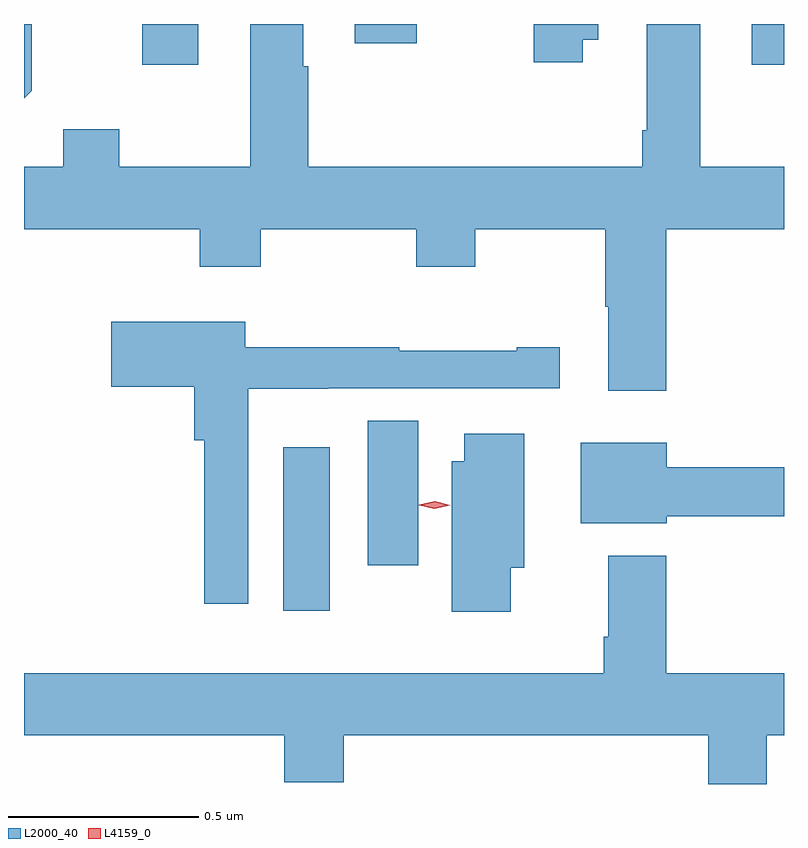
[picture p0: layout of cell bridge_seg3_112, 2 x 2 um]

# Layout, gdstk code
import gdstk
lib = gdstk.Library(unit=1e-6, precision=1e-09)
def R(c, l, rs):  # rectangles x0, y0, x1, y1
    for r in rs: c.add(gdstk.rectangle(r[:2], r[2:], *l))
def P(c, l, *ps):  # polygons
    for p in ps: c.add(gdstk.Polygon(p, *l))
L2000_40 = (2000, 40)
L4159_0 = (4159, 0)

bridge_seg3_112 = lib.new_cell('bridge_seg3_112')
R(bridge_seg3_112, L2000_40, [(157.148,713.232,157.27,713.662), (157.37,713.352,157.504,713.732), (156.777,714.669,156.925,714.776), (158.381,714.669,158.466,714.776), (157.337,714.726,157.5,714.776)])
P(bridge_seg3_112, L2000_40, [(158.156,714.236),(158.466,714.236),(158.466,714.4),(158.245,714.4),(158.245,714.776),(158.105,714.776),(158.105,714.496),(158.093,714.496),(158.093,714.4),(157.214,714.4),(157.214,714.665),(157.201,714.665),(157.201,714.776),(157.061,714.776),(157.061,714.4),(156.717,714.4),(156.717,714.499),(156.569,714.499),(156.569,714.4),(156.466,714.4),(156.466,714.236),(156.929,714.236),(156.929,714.137),(157.089,714.137),(157.089,714.236),(157.498,714.236),(157.498,714.137),(157.653,714.137),(157.653,714.236),(157.996,714.236),(157.996,714.032),(158.003,714.032),(158.003,713.811),(158.156,713.811)],
  [(156.487,714.601),(156.487,714.776),(156.466,714.776),(156.466,714.58)],
  [(157.936,714.734),(157.977,714.734),(157.977,714.776),(157.807,714.776),(157.807,714.675),(157.936,714.675)],
  [(157.056,713.816),(157.266,713.816),(157.266,713.817),(157.876,713.817),(157.876,713.926),(157.763,713.926),(157.763,713.916),(157.454,713.916),(157.454,713.926),(157.048,713.926),(157.048,713.992),(156.696,713.992),(156.696,713.822),(156.914,713.822),(156.914,713.681),(156.94,713.681),(156.94,713.25),(157.056,713.25)],
  [(157.747,713.345),(157.783,713.345),(157.783,713.698),(157.625,713.698),(157.625,713.626),(157.592,713.626),(157.592,713.229),(157.747,713.229)],
  [(158.158,713.481),(158.466,713.481),(158.466,713.609),(158.158,713.609),(158.158,713.674),(157.931,713.674),(157.931,713.462),(158.158,713.462)],
  [(158.42,712.904),(158.466,712.904),(158.466,713.068),(158.156,713.068),(158.156,713.377),(158.003,713.377),(158.003,713.164),(157.991,713.164),(157.991,713.068),(156.466,713.068),(156.466,712.904),(157.151,712.904),(157.151,712.78),(157.307,712.78),(157.307,712.904),(158.267,712.904),(158.267,712.776),(158.42,712.776)])
P(bridge_seg3_112, L4159_0, [(157.546,713.5),(157.506,713.51),(157.505,713.51),(157.506,713.511),(157.547,713.52),(157.588,713.51),(157.588,713.51),(157.588,713.51)])

lib.write_gds('bridge_seg3_112.gds')
